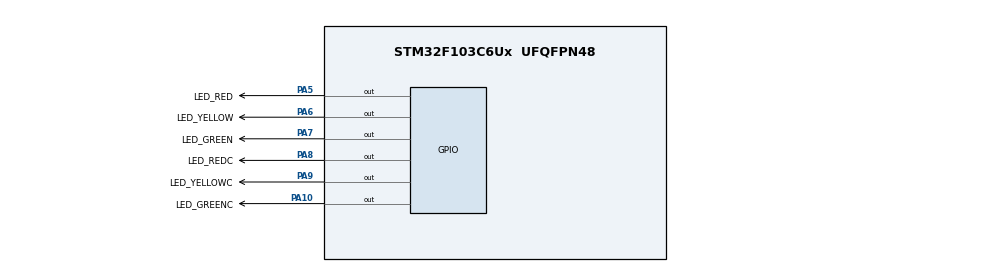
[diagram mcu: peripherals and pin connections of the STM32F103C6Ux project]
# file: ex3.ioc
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Mcu.Family=STM32F1
Mcu.Name=STM32F103C6Ux
Mcu.Package=UFQFPN48
NVIC.PriorityGroup=NVIC_PRIORITYGROUP_4
PA10.GPIO_Label=LED_GREENC
PA10.Signal=GPIO_Output
PA5.GPIO_Label=LED_RED
PA5.Signal=GPIO_Output
PA6.GPIO_Label=LED_YELLOW
PA6.Signal=GPIO_Output
PA7.GPIO_Label=LED_GREEN
PA7.Signal=GPIO_Output
PA8.GPIO_Label=LED_REDC
PA8.Signal=GPIO_Output
PA9.GPIO_Label=LED_YELLOWC
PA9.Signal=GPIO_Output
ProjectManager.HeapSize=0x200
ProjectManager.StackSize=0x400
ProjectManager.TargetToolchain=STM32CubeIDE
RCC.APB1Freq_Value=8000000
RCC.APB2Freq_Value=8000000
VP_SYS_VS_ND.Mode=No_Debug
board=custom

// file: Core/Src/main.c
/* USER CODE BEGIN Header */
/**
  ******************************************************************************
  * @file           : main.c
  * @brief          : Main program body
  ******************************************************************************
  * @attention
  *
  * <h2><center>&copy; Copyright (c) 2022 STMicroelectronics.
  * All rights reserved.</center></h2>
  *
  * This software component is licensed by ST under BSD 3-Clause license,
  * the "License"; You may not use this file except in compliance with the
  * License. You may obtain a copy of the License at:
  *                        opensource.org/licenses/BSD-3-Clause
  *
  ******************************************************************************
  */
/* USER CODE END Header */
#include "main.h"

void SystemClock_Config(void);
static void MX_GPIO_Init(void);

int main(void)
{

  /* MCU Configuration--------------------------------------------------------*/

  /* Reset of all peripherals, Initializes the Flash interface and the Systick. */
  HAL_Init();

  /* Configure the system clock */
  SystemClock_Config();

  /* Initialize all configured peripherals */
  MX_GPIO_Init();

  /* Infinite loop */
  /* USER CODE BEGIN WHILE */
  int count1 = 0;
  int count2 = 0;
  	while (1) {
  		//RED ON, YELLOW OFF, GREEN OFF (INITIAL STATE)
  		if (count1 == 0)
  		{
  			HAL_GPIO_WritePin(LED_RED_GPIO_Port, LED_RED_Pin, SET);
  			HAL_GPIO_WritePin(LED_YELLOW_GPIO_Port, LED_YELLOW_Pin, RESET);
  			HAL_GPIO_WritePin(LED_GREEN_GPIO_Port, LED_GREEN_Pin, RESET);
  		}
  		//GREEN ON, YELLOW OFF, GREEN OFF
  		if (count1 == 5)
  		{
  			HAL_GPIO_TogglePin(LED_RED_GPIO_Port, LED_RED_Pin);
  			HAL_GPIO_TogglePin(LED_GREEN_GPIO_Port, LED_GREEN_Pin);
  		}
  		//YELLOW ON, GREEN OFF, RED OFF
  		if (count1 == 8)
  		{
  			HAL_GPIO_TogglePin(LED_GREEN_GPIO_Port, LED_GREEN_Pin);
  			HAL_GPIO_TogglePin(LED_YELLOW_GPIO_Port, LED_YELLOW_Pin);
  		}
  		//RED ON, YELLOW OFF, GREEN OFF
  		if (count1 == 10)
  		{
  			HAL_GPIO_TogglePin(LED_YELLOW_GPIO_Port, LED_YELLOW_Pin);
  			HAL_GPIO_TogglePin(LED_RED_GPIO_Port, LED_RED_Pin);
  			count1 = 0;
  		}
  		count1++;
  		//CROSSROAD
  		//RED OFF, YELLOW OFF, GREEN ON
  		if (count2 == 0)
  		{
  		  	HAL_GPIO_WritePin(LED_REDC_GPIO_Port, LED_REDC_Pin, RESET);
  		  	HAL_GPIO_WritePin(LED_YELLOWC_GPIO_Port, LED_YELLOWC_Pin, RESET);
  		  	HAL_GPIO_WritePin(LED_GREENC_GPIO_Port, LED_GREENC_Pin, SET);
  		}
  		//YELLOW ON, GREEN OFF, RED OFF
  		if (count2 == 3)
  		{
  		  	HAL_GPIO_TogglePin(LED_GREENC_GPIO_Port, LED_GREENC_Pin);
  		  	HAL_GPIO_TogglePin(LED_YELLOWC_GPIO_Port, LED_YELLOWC_Pin);
  		}
  		//YELLOW OFF, GREEN OFF, RED ON
  		if (count2 == 5)
  		{
  		  	HAL_GPIO_TogglePin(LED_YELLOWC_GPIO_Port, LED_YELLOWC_Pin);
  		  	HAL_GPIO_TogglePin(LED_REDC_GPIO_Port, LED_REDC_Pin);
  		}
  		//RED OFF, YELLOW OFF, GREEN ON
  		if (count2 == 10)
  		{
  		  	HAL_GPIO_TogglePin(LED_REDC_GPIO_Port, LED_REDC_Pin);
  		  	HAL_GPIO_TogglePin(LED_GREENC_GPIO_Port, LED_GREENC_Pin);
  		  	count2 = 0;
  		}
  		count2++;
  		HAL_Delay(1000);
  		/* USER CODE END WHILE */

  	}
  }

void SystemClock_Config(void)
{
  RCC_OscInitTypeDef RCC_OscInitStruct = {0};
  RCC_ClkInitTypeDef RCC_ClkInitStruct = {0};

  /** Initializes the RCC Oscillators according to the specified parameters
  * in the RCC_OscInitTypeDef structure.
  */
  RCC_OscInitStruct.OscillatorType = RCC_OSCILLATORTYPE_HSI;
  RCC_OscInitStruct.HSIState = RCC_HSI_ON;
  RCC_OscInitStruct.HSICalibrationValue = RCC_HSICALIBRATION_DEFAULT;
  RCC_OscInitStruct.PLL.PLLState = RCC_PLL_NONE;
  if (HAL_RCC_OscConfig(&RCC_OscInitStruct) != HAL_OK)
  {
    Error_Handler();
  }
  /** Initializes the CPU, AHB and APB buses clocks
  */
  RCC_ClkInitStruct.ClockType = RCC_CLOCKTYPE_HCLK|RCC_CLOCKTYPE_SYSCLK
                              |RCC_CLOCKTYPE_PCLK1|RCC_CLOCKTYPE_PCLK2;
  RCC_ClkInitStruct.SYSCLKSource = RCC_SYSCLKSOURCE_HSI;
  RCC_ClkInitStruct.AHBCLKDivider = RCC_SYSCLK_DIV1;
  RCC_ClkInitStruct.APB1CLKDivider = RCC_HCLK_DIV1;
  RCC_ClkInitStruct.APB2CLKDivider = RCC_HCLK_DIV1;

  if (HAL_RCC_ClockConfig(&RCC_ClkInitStruct, FLASH_LATENCY_0) != HAL_OK)
  {
    Error_Handler();
  }
}

static void MX_GPIO_Init(void)
{
  GPIO_InitTypeDef GPIO_InitStruct = {0};

  /* GPIO Ports Clock Enable */
  __HAL_RCC_GPIOA_CLK_ENABLE();

  /*Configure GPIO pin Output Level */
  HAL_GPIO_WritePin(GPIOA, LED_RED_Pin|LED_YELLOW_Pin|LED_GREEN_Pin|LED_REDC_Pin
                          |LED_YELLOWC_Pin|LED_GREENC_Pin, GPIO_PIN_RESET);

  /*Configure GPIO pins : LED_RED_Pin LED_YELLOW_Pin LED_GREEN_Pin LED_REDC_Pin
                           LED_YELLOWC_Pin LED_GREENC_Pin */
  GPIO_InitStruct.Pin = LED_RED_Pin|LED_YELLOW_Pin|LED_GREEN_Pin|LED_REDC_Pin
                          |LED_YELLOWC_Pin|LED_GREENC_Pin;
  GPIO_InitStruct.Mode = GPIO_MODE_OUTPUT_PP;
  GPIO_InitStruct.Pull = GPIO_NOPULL;
  GPIO_InitStruct.Speed = GPIO_SPEED_FREQ_LOW;
  HAL_GPIO_Init(GPIOA, &GPIO_InitStruct);

}

void Error_Handler(void)
{
  __disable_irq();
  while (1)
  {
  }
}

/************************ (C) COPYRIGHT STMicroelectronics *****END OF FILE****/
